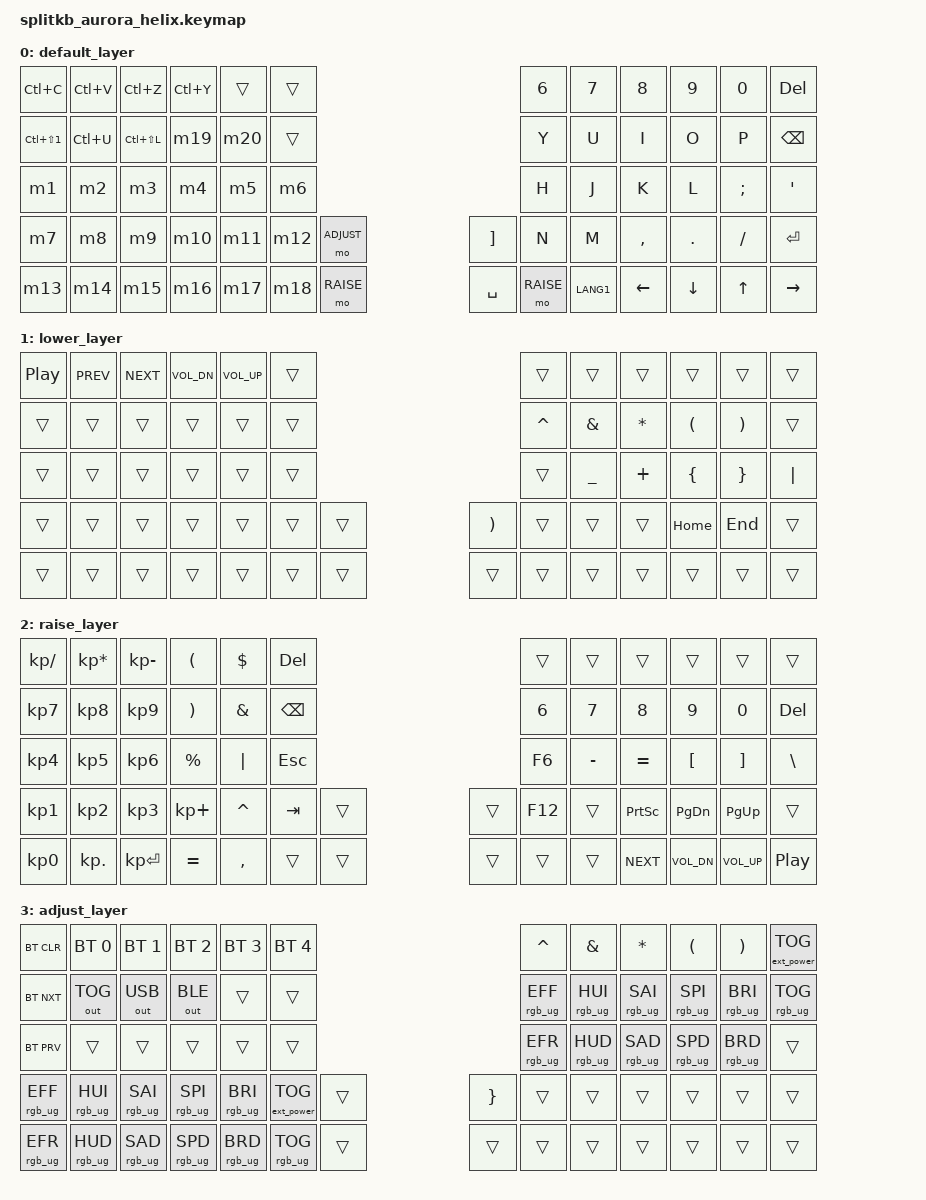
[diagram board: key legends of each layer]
/*
 * Copyright (c) 2023 The ZMK Contributors
 *
 * SPDX-License-Identifier: MIT
 */

#include <behaviors.dtsi>
#include <dt-bindings/zmk/keys.h>
#include <dt-bindings/zmk/bt.h>
#include <dt-bindings/zmk/rgb.h>
#include <dt-bindings/zmk/ext_power.h>
#include <dt-bindings/zmk/outputs.h>
#include <dt-bindings/zmk/backlight.h>

#define DEFAULT 0
#define LOWER  1
#define RAISE  2
#define ADJUST 3

&led_strip {
       // chain-length = <6>;
       chain-length = <38>; // Uncomment if using both per-key and underglow LEDs
       // chain-length = <32>; // Uncomment if using only per-key LEDs.
};

/ {
    macros {
        m1: m1 {
            // GIT PULL
            compatible = "zmk,behavior-macro";
            #binding-cells = <0>;
            bindings
                = <&macro_tap &kp G &kp I &kp T &kp SPACE &kp P &kp U &kp L &kp L>
                ;
        };

        m2: m2 {
            // GIT FETCH
            compatible = "zmk,behavior-macro";
            #binding-cells = <0>;
            bindings
                = <&macro_tap &kp G &kp I &kp T &kp SPACE &kp F &kp E &kp T &kp C &kp H>
                ;
        };

        m3: m3 {
            // GIT ADD
            compatible = "zmk,behavior-macro";
            #binding-cells = <0>;
            bindings
                = <&macro_tap &kp G &kp I &kp T &kp SPACE &kp A &kp D &kp D>
                ;
        };

        m4: m4 {
            // GIT COMMIT
            compatible = "zmk,behavior-macro";
            #binding-cells = <0>;
            bindings
                = <&macro_tap &kp G &kp I &kp T &kp SPACE &kp C &kp O &kp M &kp M &kp I &kp T>
                ;
        };

        m5: m5 {
            // GIT STASH
            compatible = "zmk,behavior-macro";
            #binding-cells = <0>;
            bindings
                = <&macro_tap &kp G &kp I &kp T &kp SPACE &kp S &kp T &kp A &kp S &kp H>
                ;
        };

        m6: m6 {
            // ll | grep -i
            compatible = "zmk,behavior-macro";
            #binding-cells = <0>;
            bindings
                = <&macro_tap &kp L &kp L &kp SPACE &kp PIPE &kp SPACE &kp G &kp R &kp E &kp P &kp SPACE &kp MINUS &kp I>
                ;
        };

        m7: m7 {
            // ls -ltr
            compatible = "zmk,behavior-macro";
            #binding-cells = <0>;
            bindings
                = <&macro_tap &kp L &kp S &kp SPACE &kp MINUS &kp L &kp T &kp R>
                ;
        };

        m8: m8 {
            // NVM CLEAN INSTALL
            compatible = "zmk,behavior-macro";
            #binding-cells = <0>;
            bindings
                = <&macro_tap &kp N &kp V &kp M &kp SPACE &kp C &kp L &kp E &kp A &kp N &kp SPACE &kp I &kp N &kp S &kp T &kp A &kp L &kp L>
                ;
        };

        m9: m9 {
            // -Dmaven.test.skip=true
            compatible = "zmk,behavior-macro";
            #binding-cells = <0>;
            bindings
                = <&macro_tap &kp MINUS &kp D &kp M &kp A &kp V &kp E &kp N &kp PERIOD &kp T &kp E &kp S &kp T &kp PERIOD &kp S &kp K &kp I &kp P &kp EQUAL &kp T &kp R &kp U &kp E  >
                ;
        };

        m10: m10 {
            // DOT SLASH
            compatible = "zmk,behavior-macro";
            #binding-cells = <0>;
            bindings
                = <&macro_tap &kp PERIOD &kp SLASH>
                ;
        };

        m11: m11 {
            // MV
            compatible = "zmk,behavior-macro";
            #binding-cells = <0>;
            bindings
                = <&macro_tap &kp M &kp V>
                ;
        };

        m12: m12 {
            // :q
            compatible = "zmk,behavior-macro";
            #binding-cells = <0>;
            bindings
                = <&macro_tap &kp COLON &kp Q >
                ;
        };

        m13: m13 {
            // :wq
            compatible = "zmk,behavior-macro";
            #binding-cells = <0>;
            bindings
                = <&macro_tap &kp COLON &kp W &kp Q >
                ;
        };

        m14: m14 {
            // I BACKSLASH INSERT
            compatible = "zmk,behavior-macro";
            #binding-cells = <0>;
            bindings
                = <&macro_tap &kp I &kp BACKSLASH &kp I &kp N &kp S &kp E &kp R &kp T >
                ;
        };

        m15: m15 {
            // MKDIR
            compatible = "zmk,behavior-macro";
            #binding-cells = <0>;
            bindings
                = <&macro_tap &kp M &kp K &kp D &kp I &kp R>
                ;
        };

        m16: m16 {
            // CP
            compatible = "zmk,behavior-macro";
            #binding-cells = <0>;
            bindings
                = <&macro_tap &kp C &kp P>
                ;
        };

        m17: m17 {
            // CHMOD
            compatible = "zmk,behavior-macro";
            #binding-cells = <0>;
            bindings
                = <&macro_tap &kp C &kp H &kp M &kp O &kp D>
                ;
        };

        m18: m18 {
            // xsltproc.exe
            compatible = "zmk,behavior-macro";
            #binding-cells = <0>;
            bindings
                = <&macro_tap &kp X &kp S &kp L &kp T &kp P &kp R &kp O &kp C &kp PERIOD &kp E &kp X &kp E>
                ;
        };

        m19: m19 {
            // ln -fs
            compatible = "zmk,behavior-macro";
            #binding-cells = <0>;
            bindings
                = <&macro_tap &kp L &kp N &kp SPACE &kp MINUS &kp F &kp S>
                ;
        };

        m20: m20 {
            // DD
            compatible = "zmk,behavior-macro";
            #binding-cells = <0>;
            bindings
                = <&macro_tap &kp D &kp D>
                ;
        };

    };
};

/ {
       keymap {
              compatible = "zmk,keymap";

              default_layer {
                     // ---------------------------------------------------------------------------------------------------------------------------------
                     // |   COPY   |   PASTE  |   UNDO   |   REDO   |          |          |                                      |   6    |   7    |   8    |   9    |   0    |  DEL   |
                     // |    C1    |    C2    |    C3    |   M19    |   M20    |          |                                      |   Y    |   U    |   I    |   O    |   P    |  BSPC  |
                     // |    M1    |    M2    |    M3    |   M4     |   M5     |   M6     |                                      |   H    |   J    |   K    |   L    |   ;    |   '    |
                     // |    M7    |    M8    |    M9    |   M10    |   M11    |   M12    | ADJUST |                    |  RBKT  |   N    |   M    |   ,    |   .    |   /    |  RET   |
                     // |    M13   |    M14   |    M15   |   M16    |   M17    |   M18    | LOWER  |                    |  SPACE | RAISE  |  KANA  |  LEFT  |  DOWN  |  UP    |  RIGHT |
                     bindings = <
                     &kp LC(C)      &kp LC(V)  &kp LC(Z)       &kp LC(Y)  &trans  &trans                                         &kp N6    &kp N7    &kp N8    &kp N9     &kp N0    &kp DEL
                     &kp LC(LS(1))  &kp LC(U)  &kp LC(LS(L))   &m19       &m20    &trans                                         &kp Y     &kp U     &kp I     &kp O      &kp P     &kp BSPC
                     &m1            &m2        &m3             &m4        &m5     &m6                                            &kp H     &kp J     &kp K     &kp L      &kp SEMI  &kp SQT
                     &m7            &m8        &m9             &m10       &m11    &m12   &mo ADJUST                    &kp RBKT  &kp N     &kp M     &kp COMMA &kp PERIOD &kp SLASH &kp RET
                     &m13          &m14        &m15            &m16       &m17    &m18   &mo RAISE                     &kp SPACE &mo RAISE &kp LANG1 &kp LEFT  &kp DOWN   &kp UP    &kp RIGHT
                     >;
              };
              lower_layer {
                     // ---------------------------------------------------------------------------------------------------------------------------------
                     // |   PP   |   PRV  |  NEXT  |  VOL-  |  VOL+  |  MUTE  |                                       |      |      |      |      |      |      |
                     // |        |        |        |        |        |        |                                       |  ^   |  &   |  *   |  (   |  )   |      |
                     // |        |        |        |        |        |        |                                       |      |  _   |  +   |  {   |  }   | PIPE |
                     // |        |        |        |        |        |        |        |                       |  )   |      |      |      | HOME | END  |      |
                     // |        |        |        |        |        |        |        |                       |      |      |      |      |      |      |      |
                     bindings = <
                     &kp C_PP    &kp C_PREV  &kp C_NEXT  &kp C_VOL_DN  &kp C_VOL_UP  &trans                             &trans    &trans    &trans    &trans   &trans   &trans
                     &trans      &trans      &trans      &trans        &trans        &trans                             &kp CARET &kp AMPS  &kp ASTRK &kp LPAR &kp RPAR &trans
                     &trans      &trans      &trans      &trans        &trans        &trans                             &trans    &kp UNDER &kp PLUS  &kp LBRC &kp RBRC &kp PIPE
                     &trans      &trans      &trans      &trans        &trans        &trans    &trans          &kp RPAR &trans    &trans    &trans    &kp HOME &kp END  &trans
                     &trans      &trans      &trans      &trans        &trans        &trans    &trans          &trans   &trans    &trans    &trans    &trans   &trans   &trans
                     >;
              };
              raise_layer {
                     // ---------------------------------------------------------------------------------------------------------------------------------
                     // |     /     |     *     |     -     |     (     |     $     |    DEL    |                                    |       |       |       |       |       |       |
                     // |     7     |     8     |     9     |     )     |     &     |    BSPC   |                                    |   6   |   7   |   8   |   9   |   0   |  DEL  |
                     // |     4     |     5     |     6     |     %     |     |     |    ESC    |                                    |  F6   |   -   |   =   |   [   |   ]   |   \   |
                     // |     1     |     2     |     3     |     +     |     ^     |    TAB    |        |                    |       |  F12  |       | PSCRN | PG_DN | PG_UP |       |
                     // |     0     |     .     |    RET    |     =     |     ,     |           |        |                    |       |       |       | NEXT  | VOL-  | VOL+  | PLAY  |
                     bindings = <
                     &kp KP_DIVIDE &kp KP_MULTIPLY &kp KP_MINUS &kp LPAR    &kp DLLR   &kp DEL                       &trans  &trans    &trans     &trans       &trans       &trans
                     &kp KP_N7     &kp KP_N8       &kp KP_N9    &kp RPAR    &kp AMPS   &kp BSPC                      &kp N6  &kp N7    &kp N8     &kp N9       &kp N0       &kp DEL
                     &kp KP_N4     &kp KP_N5       &kp KP_N6    &kp PERCENT &kp PIPE   &kp ESC                       &kp F6  &kp MINUS &kp EQUAL  &kp LBKT     &kp RBKT     &kp BSLH
                     &kp KP_N1     &kp KP_N2       &kp KP_N3    &kp KP_PLUS &kp CARET  &kp TAB  &trans        &trans &kp F12 &trans    &kp PSCRN  &kp PG_DN    &kp PG_UP    &trans
                     &kp KP_N0     &kp KP_DOT      &kp KP_ENTER &kp EQUAL   &kp COMMA  &trans   &trans        &trans &trans  &trans    &kp C_NEXT &kp C_VOL_DN &kp C_VOL_UP &kp C_PP
                     >;
              };
              adjust_layer {
                     // ----------------------------------------------------------------------------------------------------------------------------------------------------------------------------------------
                     // |  BT CLR  | BT SEL0  | BT SEL1  | BT SEL2  | BGT SEL3 | BT SEL4  |                                                  |    ^     |    &     |    *     |    (     |    )     |  EP TOG  |
                     // |  BT NXT  | OUT TOG  | OUT USB  | OUT BLE  |          |          |                                                  | RGB EFF+ | RGB HUE+ | RGB SAT+ | RGB SPD+ | RGB BRI+ | RGB TOG  |
                     // |  BT PRV  |          |          |          |          |          |                                                  | RGB EFF- | RGB HUE- | RGB SAT- | RGB SPD- | RGB BRI- |          |
                     // | RGB EFF+ | RGB HUE+ | RGB SAT+ | RGB SPD+ | RGB BRI+ |  EP TOG  |          |                            |    }     |          |          |          |          |          |          |
                     // | RGB EFF- | RGB HUE- | RGB SAT- | RGB SPD- | RGB BRI- | RGB TOG  |          |                            |          |          |          |          |          |          |          |
                     bindings = <
                     &bt BT_CLR      &bt BT_SEL 0    &bt BT_SEL 1    &bt BT_SEL 2    &bt BT_SEL 3    &bt BT_SEL 4                         &kp CARET       &kp AMPS        &kp ASTRK       &kp LPAR        &kp RPAR        &ext_power EP_TOG
                     &bt BT_NXT      &out OUT_TOG    &out OUT_USB    &out OUT_BLE    &trans          &trans                               &rgb_ug RGB_EFF &rgb_ug RGB_HUI &rgb_ug RGB_SAI &rgb_ug RGB_SPI &rgb_ug RGB_BRI &rgb_ug RGB_TOG
                     &bt BT_PRV      &trans          &trans          &trans          &trans          &trans                               &rgb_ug RGB_EFR &rgb_ug RGB_HUD &rgb_ug RGB_SAD &rgb_ug RGB_SPD &rgb_ug RGB_BRD &trans
                     &rgb_ug RGB_EFF &rgb_ug RGB_HUI &rgb_ug RGB_SAI &rgb_ug RGB_SPI &rgb_ug RGB_BRI &ext_power EP_TOG &trans    &kp RBRC &trans          &trans          &trans          &trans          &trans          &trans
                     &rgb_ug RGB_EFR &rgb_ug RGB_HUD &rgb_ug RGB_SAD &rgb_ug RGB_SPD &rgb_ug RGB_BRD &rgb_ug RGB_TOG   &trans    &trans   &trans          &trans          &trans          &trans          &trans          &trans
                     >;
              };
       };
};
